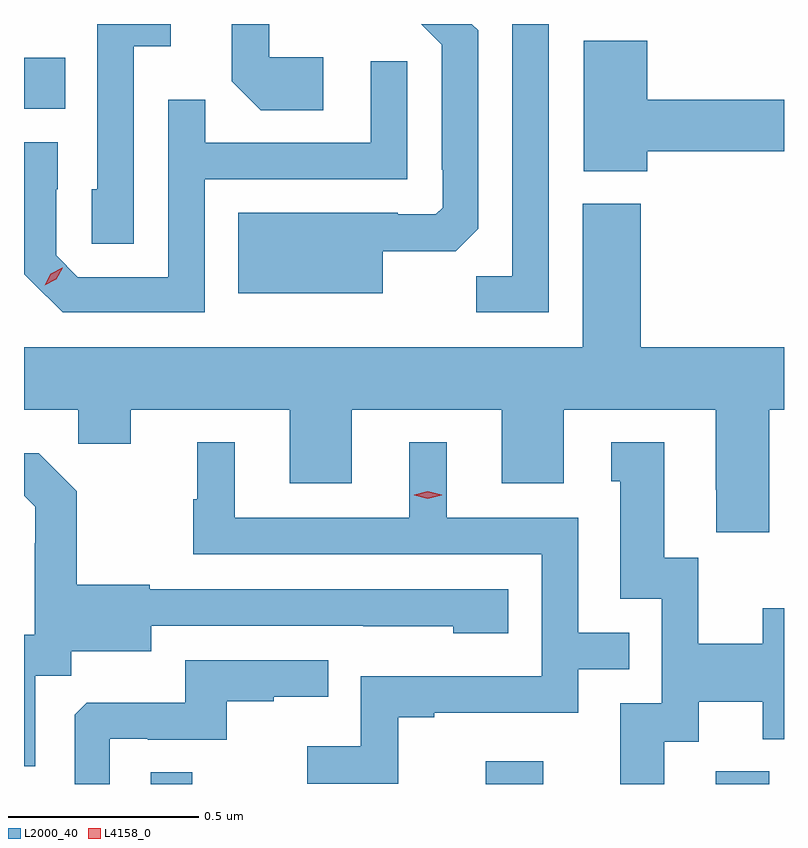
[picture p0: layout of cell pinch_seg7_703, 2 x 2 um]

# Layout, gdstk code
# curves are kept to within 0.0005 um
import gdstk
lib = gdstk.Library(unit=1e-6, precision=1e-09)
def R(c, l, rs):  # rectangles x0, y0, x1, y1
    for r in rs: c.add(gdstk.rectangle(r[:2], r[2:], *l))
def P(c, l, *ps):  # polygons
    for p in ps: c.add(gdstk.Polygon(p, *l))
L2000_40 = (2000, 40)
L4158_0 = (4158, 0)

pinch_seg7_703 = lib.new_cell('pinch_seg7_703')
R(pinch_seg7_703, L2000_40, [(159.072,1003.627,159.181,1003.658), (159.953,1003.627,160.105,1003.687), (160.559,1003.627,160.699,1003.66), (158.738,1005.404,158.846,1005.538)])
P(pinch_seg7_703, L2000_40, [(159.526,1005.54),(159.384,1005.54),(159.384,1005.627),(159.285,1005.627),(159.285,1005.476),(159.361,1005.4),(159.526,1005.4)],
  [(159.027,1005.569),(159.124,1005.569),(159.124,1005.627),(158.931,1005.627),(158.931,1005.192),(158.916,1005.192),(158.916,1005.049),(159.027,1005.049)],
  [(160.119,1005.627),(160.023,1005.627),(160.023,1004.963),(159.928,1004.963),(159.928,1004.868),(160.119,1004.868)],
  [(159.682,1005.029),(159.874,1005.029),(159.933,1005.088),(159.933,1005.61),(159.916,1005.627),(159.783,1005.627),(159.837,1005.573),(159.837,1005.244),(159.84,1005.244),(159.84,1005.144),(159.822,1005.126),(159.722,1005.126),(159.722,1005.13),(159.302,1005.13),(159.302,1004.918),(159.682,1004.918)],
  [(160.378,1005.292),(160.738,1005.292),(160.738,1005.428),(160.378,1005.428),(160.378,1005.583),(160.211,1005.583),(160.211,1005.239),(160.378,1005.239)],
  [(159.213,1005.219),(159.747,1005.219),(159.747,1005.529),(159.651,1005.529),(159.651,1005.315),(159.215,1005.315),(159.215,1005.428),(159.117,1005.428),(159.117,1004.961),(158.88,1004.961),(158.823,1005.018),(158.823,1005.192),(158.827,1005.192),(158.827,1005.316),(158.738,1005.316),(158.738,1004.969),(158.84,1004.868),(159.213,1004.868)],
  [(160.699,1004.612),(160.738,1004.612),(160.738,1004.776),(160.361,1004.776),(160.361,1005.154),(160.208,1005.154),(160.208,1004.776),(158.738,1004.776),(158.738,1004.612),(158.881,1004.612),(158.881,1004.522),(159.019,1004.522),(159.019,1004.612),(159.437,1004.612),(159.437,1004.418),(159.601,1004.418),(159.601,1004.612),(159.995,1004.612),(159.995,1004.418),(160.159,1004.418),(160.159,1004.612),(160.559,1004.612),(160.559,1004.401),(160.56,1004.401),(160.56,1004.289),(160.699,1004.289)],
  [(159.723,1003.803),(159.817,1003.803),(159.817,1003.815),(160.197,1003.815),(160.197,1003.929),(160.331,1003.929),(160.331,1004.025),(160.197,1004.025),(160.197,1004.328),(159.85,1004.328),(159.85,1004.527),(159.752,1004.527),(159.752,1004.328),(159.292,1004.328),(159.292,1004.527),(159.194,1004.527),(159.194,1004.376),(159.183,1004.376),(159.183,1004.232),(160.101,1004.232),(160.101,1003.911),(159.624,1003.911),(159.624,1003.726),(159.483,1003.726),(159.483,1003.628),(159.723,1003.628)],
  [(160.423,1003.738),(160.513,1003.738),(160.513,1003.844),(160.682,1003.844),(160.682,1003.745),(160.738,1003.745),(160.738,1004.089),(160.682,1004.089),(160.682,1003.996),(160.512,1003.996),(160.512,1004.223),(160.423,1004.223),(160.423,1004.527),(160.283,1004.527),(160.283,1004.424),(160.307,1004.424),(160.307,1004.115),(160.416,1004.115),(160.416,1003.839),(160.307,1003.839),(160.307,1003.627),(160.423,1003.627)],
  [(158.767,1003.912),(158.862,1003.912),(158.862,1003.976),(159.073,1003.976),(159.073,1004.043),(159.631,1004.043),(159.631,1004.042),(159.867,1004.042),(159.867,1004.024),(160.012,1004.024),(160.012,1004.139),(159.069,1004.139),(159.069,1004.152),(158.877,1004.152),(158.877,1004.397),(158.777,1004.497),(158.738,1004.497),(158.738,1004.386),(158.768,1004.356),(158.768,1004.261),(158.766,1004.261),(158.766,1004.02),(158.738,1004.02),(158.738,1003.674),(158.767,1003.674)],
  [(158.964,1003.746),(159.064,1003.746),(159.064,1003.743),(159.272,1003.743),(159.272,1003.845),(159.395,1003.845),(159.395,1003.856),(159.539,1003.856),(159.539,1003.953),(159.162,1003.953),(159.162,1003.841),(158.903,1003.841),(158.871,1003.809),(158.871,1003.627),(158.964,1003.627)])
P(pinch_seg7_703, L4158_0, [(158.792,1004.94),(158.792,1004.94),(158.809,1004.97),(158.839,1004.986),(158.84,1004.986),(158.84,1004.985),(158.823,1004.955),(158.792,1004.94)],
  [(159.801,1004.378),(159.765,1004.387),(159.765,1004.388),(159.765,1004.388),(159.801,1004.398),(159.837,1004.388),(159.837,1004.388),(159.837,1004.387)])

lib.write_gds('pinch_seg7_703.gds')
